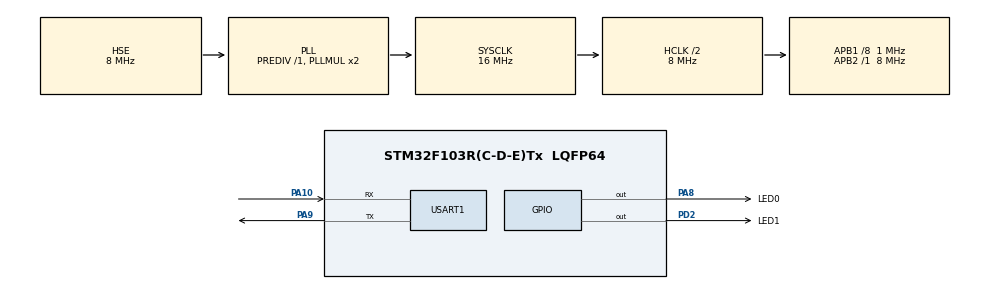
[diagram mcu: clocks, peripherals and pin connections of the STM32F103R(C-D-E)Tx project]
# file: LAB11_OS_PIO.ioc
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FREERTOS.Queues01=myQueue01,16,uint16_t,0,Dynamic,NULL,NULL
FREERTOS.Tasks01=MsgProducer,0,128,MsgProducerTask,Default,NULL,Dynamic,NULL,NULL;MsgConsumer,-1,128,MsgConsumerTask,Default,NULL,Dynamic,NULL,NULL
Mcu.Family=STM32F1
Mcu.Name=STM32F103R(C-D-E)Tx
Mcu.Package=LQFP64
NVIC.PriorityGroup=NVIC_PRIORITYGROUP_4
NVIC.TIM3_IRQn=true\:0\:0\:false\:false\:true\:false\:false\:true
NVIC.TimeBase=TIM3_IRQn
NVIC.TimeBaseIP=TIM3
PA10.Mode=Asynchronous
PA10.Signal=USART1_RX
PA13.Mode=Serial_Wire
PA13.Signal=SYS_JTMS-SWDIO
PA14.Mode=Serial_Wire
PA14.Signal=SYS_JTCK-SWCLK
PA8.GPIO_Label=LED0
PA8.Signal=GPIO_Output
PA9.Mode=Asynchronous
PA9.Signal=USART1_TX
PD0-OSC_IN.Mode=HSE-External-Oscillator
PD0-OSC_IN.Signal=RCC_OSC_IN
PD1-OSC_OUT.Mode=HSE-External-Oscillator
PD1-OSC_OUT.Signal=RCC_OSC_OUT
PD2.GPIO_Label=LED1
PD2.Signal=GPIO_Output
ProjectManager.HeapSize=0x200
ProjectManager.StackSize=0x400
ProjectManager.TargetToolchain=Makefile
RCC.ADCPresc=RCC_ADCPCLK2_DIV8
RCC.AHBCLKDivider=RCC_SYSCLK_DIV2
RCC.AHBFreq_Value=8000000
RCC.APB1CLKDivider=RCC_HCLK_DIV8
RCC.APB1Freq_Value=1000000
RCC.APB1TimFreq_Value=2000000
RCC.APB2Freq_Value=8000000
RCC.APB2TimFreq_Value=8000000
RCC.HCLKFreq_Value=8000000
RCC.PLLSourceVirtual=RCC_PLLSOURCE_HSE
RCC.SYSCLKFreq_VALUE=16000000
RCC.SYSCLKSource=RCC_SYSCLKSOURCE_PLLCLK
RCC.USBFreq_Value=16000000
USART1.VirtualMode=VM_ASYNC
VP_FREERTOS_VS_CMSIS_V1.Mode=CMSIS_V1
VP_SYS_VS_tim3.Mode=TIM3
board=custom

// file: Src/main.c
/* USER CODE BEGIN Header */
/**
  ******************************************************************************
  * @file           : main.c
  * @brief          : Main program body
  ******************************************************************************
  * @attention
  *
  * <h2><center>&copy; Copyright (c) 2019 STMicroelectronics.
  * All rights reserved.</center></h2>
  *
  * This software component is licensed by ST under Ultimate Liberty license
  * SLA0044, the "License"; You may not use this file except in compliance with
  * the License. You may obtain a copy of the License at:
  *                             www.st.com/SLA0044
  *
  ******************************************************************************
  */
/* USER CODE END Header */

#include "main.h"
#include "cmsis_os.h"
#include "usart.h"
#include "gpio.h"

void SystemClock_Config(void);
void MX_FREERTOS_Init(void);

int main(void)
{

  /* MCU Configuration--------------------------------------------------------*/

  /* Reset of all peripherals, Initializes the Flash interface and the Systick. */
  HAL_Init();

  /* Configure the system clock */
  SystemClock_Config();

  /* Initialize all configured peripherals */
  MX_GPIO_Init();
  MX_USART1_UART_Init();

  /* Call init function for freertos objects (in freertos.c) */
  MX_FREERTOS_Init();

  /* Start scheduler */
  osKernelStart();

  /* We should never get here as control is now taken by the scheduler */

  /* Infinite loop */
  while (1)
  {

  }
}

void SystemClock_Config(void)
{
  RCC_OscInitTypeDef RCC_OscInitStruct = {0};
  RCC_ClkInitTypeDef RCC_ClkInitStruct = {0};

  /** Initializes the CPU, AHB and APB busses clocks
  */
  RCC_OscInitStruct.OscillatorType = RCC_OSCILLATORTYPE_HSE;
  RCC_OscInitStruct.HSEState = RCC_HSE_ON;
  RCC_OscInitStruct.HSEPredivValue = RCC_HSE_PREDIV_DIV1;
  RCC_OscInitStruct.HSIState = RCC_HSI_ON;
  RCC_OscInitStruct.PLL.PLLState = RCC_PLL_ON;
  RCC_OscInitStruct.PLL.PLLSource = RCC_PLLSOURCE_HSE;
  RCC_OscInitStruct.PLL.PLLMUL = RCC_PLL_MUL2;
  if (HAL_RCC_OscConfig(&RCC_OscInitStruct) != HAL_OK)
  {
    Error_Handler();
  }
  /** Initializes the CPU, AHB and APB busses clocks
  */
  RCC_ClkInitStruct.ClockType = RCC_CLOCKTYPE_HCLK|RCC_CLOCKTYPE_SYSCLK
                              |RCC_CLOCKTYPE_PCLK1|RCC_CLOCKTYPE_PCLK2;
  RCC_ClkInitStruct.SYSCLKSource = RCC_SYSCLKSOURCE_PLLCLK;
  RCC_ClkInitStruct.AHBCLKDivider = RCC_SYSCLK_DIV2;
  RCC_ClkInitStruct.APB1CLKDivider = RCC_HCLK_DIV8;
  RCC_ClkInitStruct.APB2CLKDivider = RCC_HCLK_DIV1;

  if (HAL_RCC_ClockConfig(&RCC_ClkInitStruct, FLASH_LATENCY_0) != HAL_OK)
  {
    Error_Handler();
  }
}

void HAL_TIM_PeriodElapsedCallback(TIM_HandleTypeDef *htim)
{
  if (htim->Instance == TIM3) {
    HAL_IncTick();
  }
}

void Error_Handler(void)
{
}

/************************ (C) COPYRIGHT STMicroelectronics *****END OF FILE****/

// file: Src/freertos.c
/* USER CODE BEGIN Header */
/**
  ******************************************************************************
  * File Name          : freertos.c
  * Description        : Code for freertos applications
  ******************************************************************************
  * @attention
  *
  * <h2><center>&copy; Copyright (c) 2019 STMicroelectronics.
  * All rights reserved.</center></h2>
  *
  * This software component is licensed by ST under Ultimate Liberty license
  * SLA0044, the "License"; You may not use this file except in compliance with
  * the License. You may obtain a copy of the License at:
  *                             www.st.com/SLA0044
  *
  ******************************************************************************
  */
/* USER CODE END Header */

#include "FreeRTOS.h"
#include "task.h"
#include "main.h"
#include "cmsis_os.h"

/* USER CODE BEGIN Includes */
#include "string.h"
// #include "stdio.h"
/* USER CODE END Includes */

/* USER CODE BEGIN Variables */
extern UART_HandleTypeDef huart1;
typedef struct
{
  uint16_t var;
} mailStruct;
osMailQId mail01Handle;

/* USER CODE END Variables */
osThreadId MsgProducerHandle;
osThreadId MsgConsumerHandle;
osMessageQId myQueue01Handle;

/* USER CODE BEGIN FunctionPrototypes */
#ifdef __GNUC__
#define PUTCHAR_PROTO int __io_putchar(int ch)
#else
#define PUTCHAR_PROTO int fputc(int ch, FILE *f)
#endif
PUTCHAR_PROTO
{
  HAL_UART_Transmit(&huart1, (uint8_t *)&ch, 1, 0xffff);
  return ch;
}

int _write(int file, char *ptr, int len)
{
  int DataIdx;
  for (DataIdx = 0; DataIdx < len; DataIdx++)
  {
    __io_putchar(*ptr++);
  }
  return len;
}
/* USER CODE END FunctionPrototypes */

void MsgProducerTask(void const * argument);
void MsgConsumerTask(void const * argument);

void MX_FREERTOS_Init(void); /* (MISRA C 2004 rule 8.1) */

void MX_FREERTOS_Init(void) {
  /* USER CODE BEGIN Init */
  HAL_GPIO_WritePin(LED0_GPIO_Port, LED0_Pin, SET);
  /* USER CODE END Init */

  /* Create the queue(s) */
  /* definition and creation of myQueue01 */
  osMessageQDef(myQueue01, 16, uint16_t);
  myQueue01Handle = osMessageCreate(osMessageQ(myQueue01), NULL);

  /* USER CODE BEGIN RTOS_QUEUES */
  osMailQDef(mail01, 4, mailStruct);
  mail01Handle = osMailCreate(osMailQ(mail01), NULL);

  /* add queues, ... */
  /* USER CODE END RTOS_QUEUES */

  /* Create the thread(s) */
  /* definition and creation of MsgProducer */
  osThreadDef(MsgProducer, MsgProducerTask, osPriorityNormal, 0, 128);
  MsgProducerHandle = osThreadCreate(osThread(MsgProducer), NULL);

  /* definition and creation of MsgConsumer */
  osThreadDef(MsgConsumer, MsgConsumerTask, osPriorityBelowNormal, 0, 128);
  MsgConsumerHandle = osThreadCreate(osThread(MsgConsumer), NULL);

}

void MsgProducerTask(void const * argument)
{

  /* USER CODE BEGIN MsgProducerTask */
  mailStruct *mail;
  u_int8_t i = 0;
  /* Infinite loop */
  for (;; ++i)
  {
    while (!(mail = (mailStruct *)osMailAlloc(mail01Handle, osWaitForever)))
    {
      // 如果mail queue已满, 则此时mail为空指针
      // 等待500ms, 此时系统调度会切换线�?
      printf("[P]Full! Wait.\n");
      osDelay(1000);
    }
    mail->var = i;
    printf("[P]>>%d\n", mail->var);
    osMailPut(mail01Handle, mail);
  }
  /* USER CODE END MsgProducerTask */
}

void MsgConsumerTask(void const * argument)
{
  /* USER CODE BEGIN MsgConsumerTask */
  osEvent event;
  mailStruct *pMail;

  /* Infinite loop */
  for (;;)
  {
    // 消费者每�?100ms获取�?次消�?
    // osDelay(100);
    event = osMailGet(mail01Handle, osWaitForever);
    if (event.status == osEventMail)
    {
      pMail = event.value.p;
      if (!(pMail))
      {
        // 如果mail queue为空, 则此时pMail为空指针
        // 等待500ms, 此时系统调度会切换线�?
        printf("[C]Empty!.\n");
        osDelay(1000);
        continue;
      }
      printf("[C]%d<<\n", pMail->var);
      osMailFree(mail01Handle, pMail);
    }
  }
  /* USER CODE END MsgConsumerTask */
}

/************************ (C) COPYRIGHT STMicroelectronics *****END OF FILE****/
